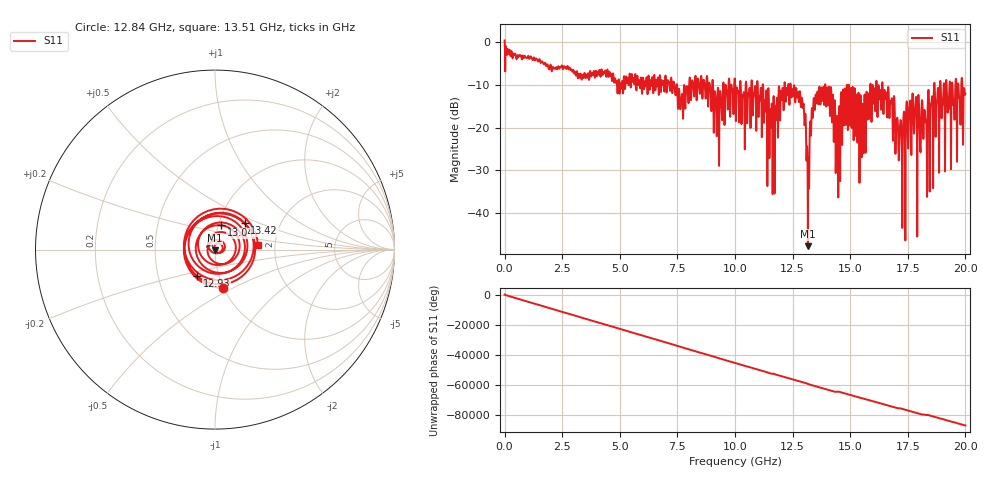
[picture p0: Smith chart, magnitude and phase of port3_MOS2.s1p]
! MS46122B
! 2250307/22442219
! 7/22/2025 3:18:12 PM
! C:\USERS\SPARKY\DOCUMENTS\VNA_DATA\JULY22_2025\295\PORT3_MOS2.S1P
! CHANNEL.1
! TR.MEASUREMENT
! RAW.DATA
# GHZ S RI R 50.0
! FREQ.GHZ  S11RE  S11IM
!; PortSelection: Port_1
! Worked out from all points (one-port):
!   10001 points, 1 MHz to 20 GHz, reference 50 ohm
!   lowest |S11| = -47.7 dB at 13.16 GHz (marker M1), VSWR 1.01, Z = 49.8 - j0.344 ohm
!   |S11| at or under -10 dB: 12.42 GHz to 13.91 GHz (1.49 GHz wide, 11.3 % of centre); 13.92 GHz to 14.85 GHz (933 MHz wide, 6.49 % of centre); 16.41 GHz to 18.64 GHz (2.233 GHz wide, 12.7 % of centre) (the widest 3 of 65)
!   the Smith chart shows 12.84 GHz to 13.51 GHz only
!   S11 on the Smith chart (normalised r, x): 12.84 GHz: 1.00, -0.45; 12.93 GHz: 0.79, -0.24; 13.04 GHz: 1.03, +0.29; 13.42 GHz: 1.33, +0.41; 13.51 GHz: 1.63, +0.08
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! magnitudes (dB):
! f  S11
! 1 MHz  0.4
! 2.501 GHz  -5.6
! 5.001 GHz  -11.6
! 7.501 GHz  -11.8
! 8.713 GHz  -12.2
! 9.243 GHz  -12.1
! 10 GHz  -9.0
! 11.04 GHz  -13.3
! 11.64 GHz  -24.4
! 12.5 GHz  -11.3
! 12.84 GHz  -13.2
! 12.93 GHz  -15.0
! 13.04 GHz  -17.1
! 13.16 GHz  -47.7
! 13.42 GHz  -13.1
! 13.51 GHz  -12.4
! 14.09 GHz  -10.6
! 14.47 GHz  -22.6
! 14.69 GHz  -11.2
! 15 GHz  -13.9
! 15.49 GHz  -25.6
! 15.96 GHz  -10.8
! 16.47 GHz  -12.1
! 17.19 GHz  -18.2
! 17.5 GHz  -21.3
! 18.26 GHz  -17.6
! 18.73 GHz  -16.5
! 20 GHz  -12.1
